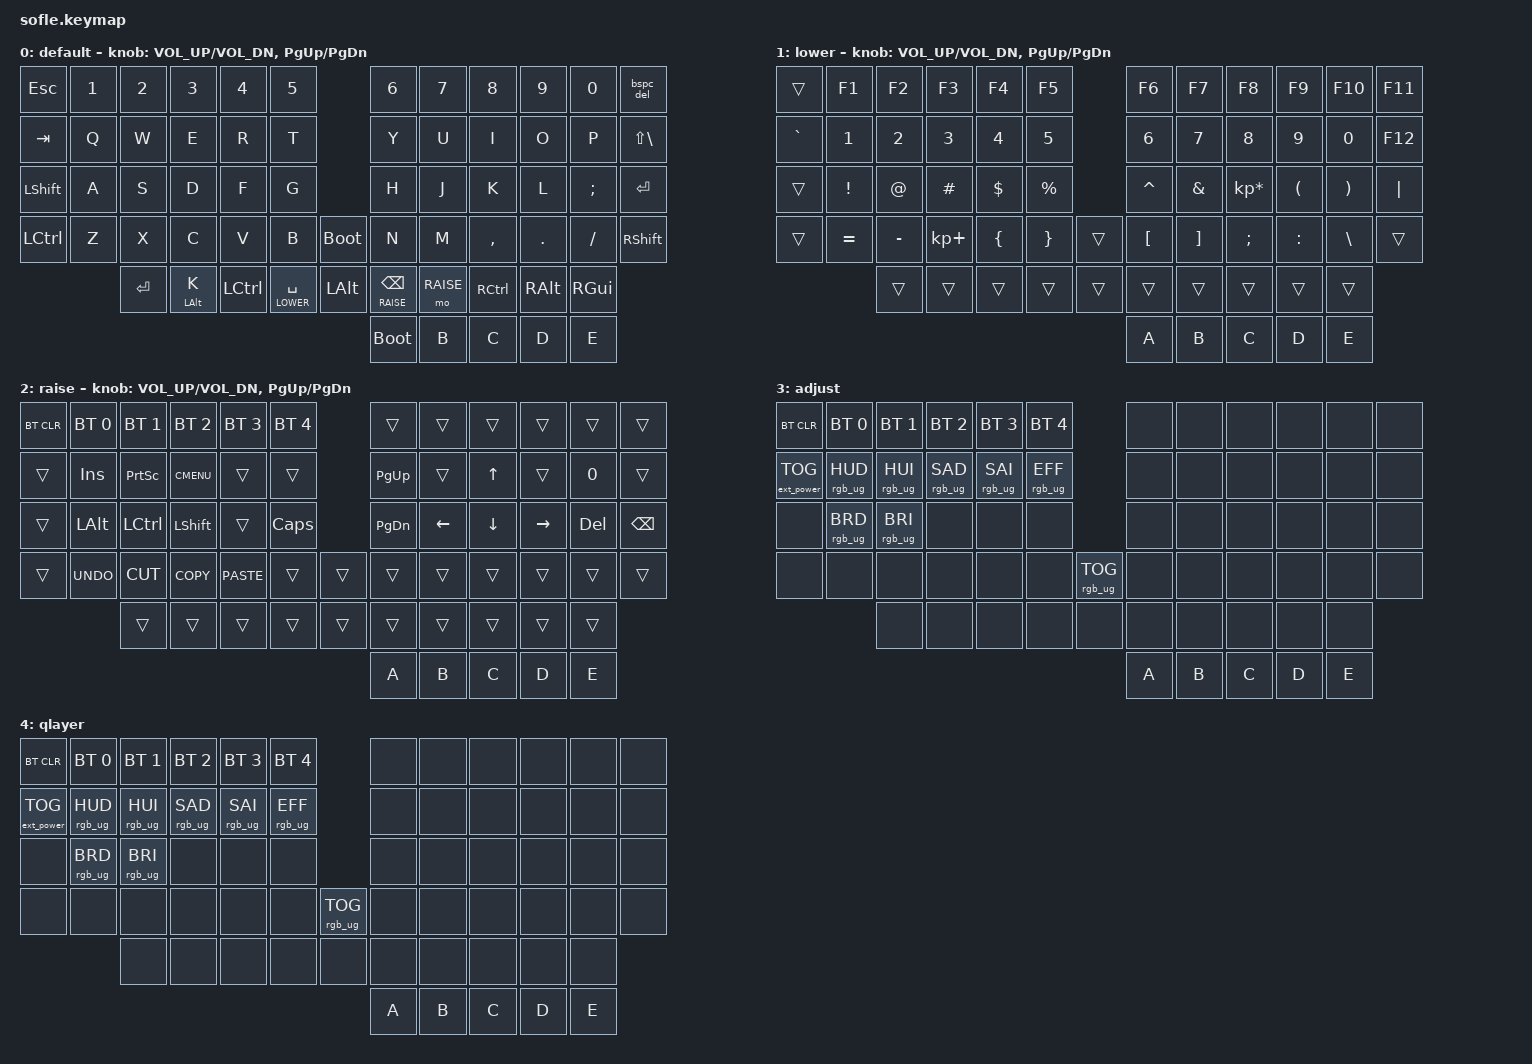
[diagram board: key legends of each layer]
/*
 * Copyright (c) 2020 The ZMK Contributors
 *
 * SPDX-License-Identifier: MIT
 */

#include <behaviors.dtsi>
#include <dt-bindings/zmk/keys.h>
#include <dt-bindings/zmk/bt.h>
#include <dt-bindings/zmk/rgb.h>
#include <dt-bindings/zmk/ext_power.h>

#define BASE 0
#define LOWER 1
#define RAISE 2
#define ADJUST 3
#define QLAYER 4

/ {
    combos {
        compatible = "zmk,combos";
        combo_esc {
            timeout-ms = <50>;
            key-positions = <1 2>;
            bindings = <&kp S>;
        };
    };
};


/ {
    behaviors {
        bspc_del: backspace_delete {
            compatible = "zmk,behavior-mod-morph";
            label = "bspcdelete";
            #binding-cells = <0>;
            bindings = <&kp BACKSPACE>, <&kp EQUAL>;
            mods = <(MOD_LSFT|MOD_RSFT)>;
            keep-mods = <(MOD_RSFT)>;
        };
    };

    behaviors {
        bhm: balanced_homerow_mods {
            label = "homerow";
            compatible = "zmk,behavior-hold-tap";
            #binding-cells = <2>;
            tapping-term-ms = <200>;    // <---[[moderate duration]]
            quick-tap-ms = <0>;
            flavor = "balanced";
            bindings = <&kp>, <&kp>;
        };
    };
    
   // Activate ADJUST layer by pressing raise and lower
    conditional_layers {
        compatible = "zmk,conditional-layers";
        adjust_layer {
            if-layers = <LOWER RAISE>;
            then-layer = <ADJUST>;
        };
    };


    keymap {
        compatible = "zmk,keymap";

        default_layer {
            label = "default";
// ------------------------------------------------------------------------------------------------------------
// |  ESC  |  1  |  2  |  3   |  4   |  5   |                   |  6   |  7    |  8    |  9   |   0   | BKSPC |
// |  TAB  |  Q  |  W  |  E   |  R   |  T   |                   |  Y   |  U    |  I    |  O   |   P   | BKSPC |
// | SHIFT |  A  |  S  |  D   |  F   |  G   |                   |  H   |  J    |  K    |  L   |   ;   |  ENTR |
// | CTRL  |  Z  |  X  |  C   |  V   |  B   |  BOOT  |  |       |  N   |  M    |  ,    |  .   |   /   | SHIFT |
//               | ENTR| ALT  | CTRL |SPACE |   ALT  |  | BCKSPC | RAISE| CTRL  | ALT   | GUI  |
            bindings = <
&kp ESC   &kp N1 &kp N2   &kp N3         &kp N4    &kp N5                            &kp N6          &kp N7    &kp N8    &kp N9   &kp N0   &bspc_del
&kp TAB   &kp Q  &kp W    &kp E          &kp R     &kp T                             &kp Y           &kp U     &kp I     &kp O    &kp P    &kp LS(BSLH)
&kp LSHFT &kp A  &kp S    &kp D          &kp F     &kp G                             &kp H           &kp J     &kp K     &kp L    &kp SEMI &kp ENTER
&kp LCTRL &kp Z  &kp X    &kp C          &kp V     &kp B            &bootloader      &kp N           &kp M     &kp COMMA &kp DOT  &kp FSLH &kp RSHFT
                 &kp RET  &bhm LALT K    &kp LCTRL &lt LOWER SPACE  &kp LALT         &lt RAISE BSPC  &mo RAISE &kp RCTRL &kp RALT &kp RGUI
                                                                                     &bootloader &kp B  &kp C &kp D  &kp E
            >;

            sensor-bindings = <&inc_dec_kp C_VOL_UP C_VOL_DN &inc_dec_kp PG_UP PG_DN>;
        };

        lower_layer {
            label = "lower";
// TODO: Some binds are waiting for shifted keycode support.
// ------------------------------------------------------------------------------------------------------------
// |       |  F1 |  F2 |  F3  |  F4  |  F5  |                   |  F6  |  F7   |  F8   |  F9  |  F10  |  F11  |
// |   `   |  1  |  2  |  3   |  4   |  5   |                   |  6   |  7    |  8    |  9   |   0   |  F12  |
// |       |  !  |  @  |  #   |  $   |  %   |                   |  ^   |  &    |  *    |  (   |   )   |   |   |
// |       |  =  |  -  |  +   |  {   |  }   |        |  |       |  [   |  ]    |  ;    |  :   |   \   |       |
//               |     |      |      |      |        |  |       |      |       |       |      |
            bindings = <
&trans    &kp F1    &kp F2    &kp F3      &kp F4    &kp F5                    &kp F6    &kp F7   &kp F8          &kp F9    &kp F10   &kp F11
&kp GRAVE &kp N1    &kp N2    &kp N3      &kp N4    &kp N5                    &kp N6    &kp N7   &kp N8          &kp N9    &kp N0    &kp F12
&trans    &kp EXCL  &kp AT    &kp HASH    &kp DLLR  &kp PRCNT                 &kp CARET &kp AMPS &kp KP_MULTIPLY &kp LPAR  &kp RPAR  &kp PIPE
&trans    &kp EQUAL &kp MINUS &kp KP_PLUS &kp LBRC  &kp RBRC   &trans         &kp LBKT  &kp RBKT &kp SEMI        &kp COLON &kp BSLH  &trans
                    &trans    &trans      &trans    &trans     &trans &trans  &trans    &trans   &trans          &trans
                                                                      &kp A      &kp B  &kp C &kp D  &kp E
            >;

            sensor-bindings = <&inc_dec_kp C_VOL_UP C_VOL_DN &inc_dec_kp PG_UP PG_DN>;
        };

        raise_layer {
            label = "raise";
// ------------------------------------------------------------------------------------------------------------
// | BTCLR | BT1  | BT2  |  BT3  |  BT4  |  BT5 |                |      |      |       |      |       |       |
// |       | INS  | PSCR | GUI   |       |      |                | PGUP |      |   ^   |      |       |       |
// |       | ALT  | CTRL | SHIFT |       | CAPS |                | PGDN |   <- |   v   |  ->  |  DEL  | BKSPC |
// |       | UNDO | CUT  | COPY  | PASTE |      |      |  |      |      |      |       |      |       |       |
//                |      |       |       |      |      |  |      |      |      |       |      |
            bindings = <
&bt BT_CLR &bt BT_SEL 0 &bt BT_SEL 1 &bt BT_SEL 2 &bt BT_SEL 3 &bt BT_SEL 4                  &trans    &trans    &trans   &trans    &trans  &trans
&trans     &kp INS      &kp PSCRN    &kp K_CMENU  &trans       &trans                        &kp PG_UP &trans    &kp UP   &trans    &kp N0  &trans
&trans     &kp LALT     &kp LCTRL    &kp LSHFT    &trans       &kp CLCK                      &kp PG_DN &kp LEFT  &kp DOWN &kp RIGHT &kp DEL &kp BSPC
&trans     &kp K_UNDO   &kp K_CUT    &kp K_COPY   &kp K_PASTE  &trans        &trans          &trans    &trans    &trans   &trans    &trans  &trans
                        &trans       &trans       &trans       &trans        &trans  &trans  &trans    &trans    &trans   &trans
                                                                                     &kp A      &kp B  &kp C &kp D  &kp E
            >;

            sensor-bindings = <&inc_dec_kp C_VOL_UP C_VOL_DN &inc_dec_kp PG_UP PG_DN>;
        };

        adjust_layer {
            label = "adjust";
// ----------------------------------------------------------------------------------------------------------------------------
// | BTCLR  |  BT1    |  BT2    |   BT3   |   BT4   |   BT5   |                  |      |      |       |      |       |       |
// | EXTPWR | RGB_HUD | RGB_HUI | RGB_SAD | RGB_SAI | RGB_EFF |                  |      |      |       |      |       |       |
// |        | RGB_BRD | RGB_BRI |         |         |         |                  |      |      |       |      |       |       |
// |        |         |         |         |         |         | RGB_TOG | |      |      |      |       |      |       |       |
//                    |         |         |         |         |         | |      |      |      |       |      |

            bindings = <
&bt BT_CLR        &bt BT_SEL 0    &bt BT_SEL 1    &bt BT_SEL 2    &bt BT_SEL 3    &bt BT_SEL 4                            &none &none &none &none &none &none
&ext_power EP_TOG &rgb_ug RGB_HUD &rgb_ug RGB_HUI &rgb_ug RGB_SAD &rgb_ug RGB_SAI &rgb_ug RGB_EFF                         &none &none &none &none &none &none
&none             &rgb_ug RGB_BRD &rgb_ug RGB_BRI &none           &none           &none                                   &none &none &none &none &none &none
&none             &none           &none           &none           &none           &none            &rgb_ug RGB_TOG        &none &none &none &none &none &none
                                  &none           &none           &none           &none            &none           &none  &none &none &none &none
                                                                                                                    &kp A      &kp B  &kp C &kp D  &kp E
            >;
        };

        q_layer {
            label = "qlayer";
// ----------------------------------------------------------------------------------------------------------------------------
// | BTCLR  |  BT1    |  BT2    |   BT3   |   BT4   |   BT5   |                  |      |      |       |      |       |       |
// | EXTPWR | RGB_HUD | RGB_HUI | RGB_SAD | RGB_SAI | RGB_EFF |                  |      |      |       |      |       |       |
// |        | RGB_BRD | RGB_BRI |         |         |         |                  |      |      |       |      |       |       |
// |        |         |         |         |         |         | RGB_TOG | |      |      |      |       |      |       |       |
//                    |         |         |         |         |         | |      |      |      |       |      |

            bindings = <
&bt BT_CLR        &bt BT_SEL 0    &bt BT_SEL 1    &bt BT_SEL 2    &bt BT_SEL 3    &bt BT_SEL 4                            &none &none &none &none &none &none
&ext_power EP_TOG &rgb_ug RGB_HUD &rgb_ug RGB_HUI &rgb_ug RGB_SAD &rgb_ug RGB_SAI &rgb_ug RGB_EFF                         &none &none &none &none &none &none
&none             &rgb_ug RGB_BRD &rgb_ug RGB_BRI &none           &none           &none                                   &none &none &none &none &none &none
&none             &none           &none           &none           &none           &none            &rgb_ug RGB_TOG        &none &none &none &none &none &none
                                  &none           &none           &none           &none            &none           &none  &none &none &none &none
                                                                                                                    &kp A      &kp B  &kp C &kp D  &kp E
            >;
        };
    };
};
